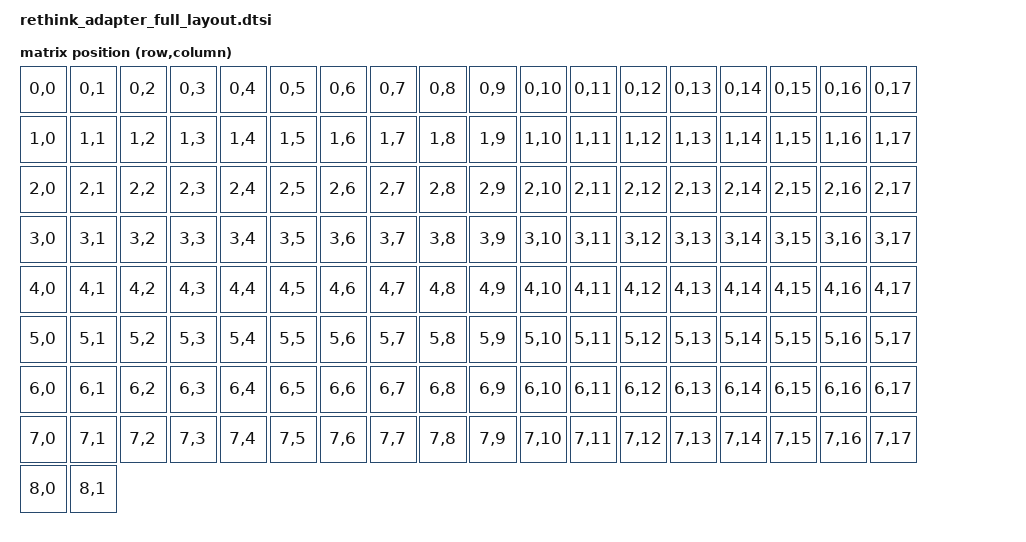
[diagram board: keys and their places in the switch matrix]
/*
 * Copyright (c) 2026 Ziemniaczenka
 * SPDX-License-Identifier: MIT
 *
 * Physical layout with every position of rethink_adapter_matrix.dtsi, for
 * the testers and the scanner: row r, column c = position r*18 + c; HOTKEY
 * and PWRSWITCH are 144, 145. Keyboard shields define their own layout with
 * only their keys instead: ZMK sizes the keymap for the largest enabled
 * layout.
 */

#include <dt-bindings/zmk/matrix_transform.h>

/ {
    chosen {
        zmk,physical-layout = &adapter_matrix_layout;
    };

    adapter_matrix_layout: adapter_matrix_layout {
        compatible = "zmk,physical-layout";
        display-name = "Adapter matrix 8x18 + 2";
        transform = <&adapter_matrix_transform>;
    };

    adapter_matrix_transform: adapter_matrix_transform {
        compatible = "zmk,matrix-transform";
        rows = <9>;
        columns = <18>;
        map = <
            RC(0,0) RC(0,1) RC(0,2) RC(0,3) RC(0,4) RC(0,5) RC(0,6) RC(0,7) RC(0,8) RC(0,9) RC(0,10) RC(0,11) RC(0,12) RC(0,13) RC(0,14) RC(0,15) RC(0,16) RC(0,17)
            RC(1,0) RC(1,1) RC(1,2) RC(1,3) RC(1,4) RC(1,5) RC(1,6) RC(1,7) RC(1,8) RC(1,9) RC(1,10) RC(1,11) RC(1,12) RC(1,13) RC(1,14) RC(1,15) RC(1,16) RC(1,17)
            RC(2,0) RC(2,1) RC(2,2) RC(2,3) RC(2,4) RC(2,5) RC(2,6) RC(2,7) RC(2,8) RC(2,9) RC(2,10) RC(2,11) RC(2,12) RC(2,13) RC(2,14) RC(2,15) RC(2,16) RC(2,17)
            RC(3,0) RC(3,1) RC(3,2) RC(3,3) RC(3,4) RC(3,5) RC(3,6) RC(3,7) RC(3,8) RC(3,9) RC(3,10) RC(3,11) RC(3,12) RC(3,13) RC(3,14) RC(3,15) RC(3,16) RC(3,17)
            RC(4,0) RC(4,1) RC(4,2) RC(4,3) RC(4,4) RC(4,5) RC(4,6) RC(4,7) RC(4,8) RC(4,9) RC(4,10) RC(4,11) RC(4,12) RC(4,13) RC(4,14) RC(4,15) RC(4,16) RC(4,17)
            RC(5,0) RC(5,1) RC(5,2) RC(5,3) RC(5,4) RC(5,5) RC(5,6) RC(5,7) RC(5,8) RC(5,9) RC(5,10) RC(5,11) RC(5,12) RC(5,13) RC(5,14) RC(5,15) RC(5,16) RC(5,17)
            RC(6,0) RC(6,1) RC(6,2) RC(6,3) RC(6,4) RC(6,5) RC(6,6) RC(6,7) RC(6,8) RC(6,9) RC(6,10) RC(6,11) RC(6,12) RC(6,13) RC(6,14) RC(6,15) RC(6,16) RC(6,17)
            RC(7,0) RC(7,1) RC(7,2) RC(7,3) RC(7,4) RC(7,5) RC(7,6) RC(7,7) RC(7,8) RC(7,9) RC(7,10) RC(7,11) RC(7,12) RC(7,13) RC(7,14) RC(7,15) RC(7,16) RC(7,17)
            RC(8,0) RC(8,1)
        >;
    };
};
